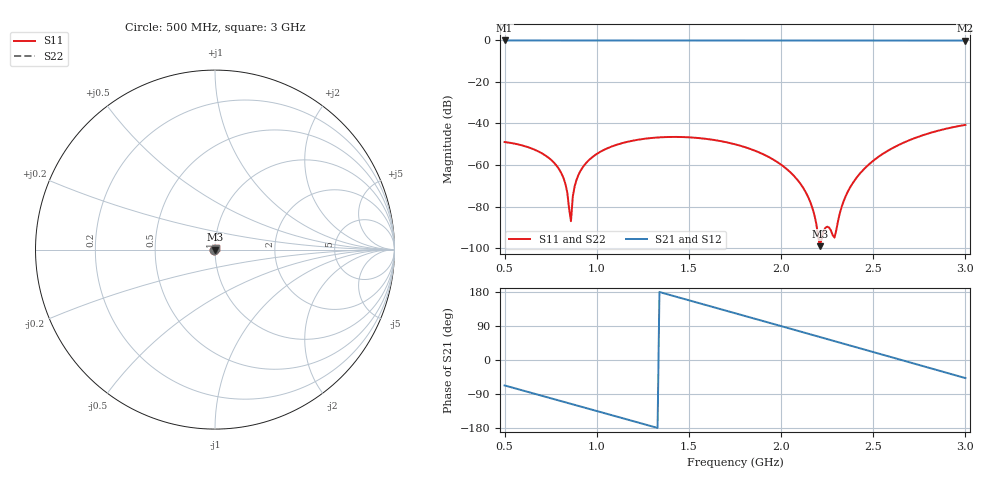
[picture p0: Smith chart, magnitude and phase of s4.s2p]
!freq-unit  param-type  data-format  keyword  impedance-ohms
# GHZ  S  RI  R  50
!Freq  ReS11  ImS11  ReS21  ImS21  ReS12  ImS12  ReS22  ImS22
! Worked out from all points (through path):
!   251 points, 500 MHz to 3 GHz, reference 50 ohm
!   highest |S21| = -0.02 dB at 500 MHz (marker M1); lowest = -0.1 dB at 3 GHz (marker M2)
!   group delay of S21, straight-line fit = 379 ps
!   lowest |S11| = -99.1 dB at 2.21 GHz (marker M3), VSWR 1.00, Z = 50 + j0.00103 ohm
!   |S11| at or under -10 dB: start of sweep to end of sweep
!   |S22| runs from -99.1 to -40.7 dB; largest |S21 - S12| = 0
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0.5  -0.00329 -0.00139  0.3879 -0.9191  0.3879 -0.9191  -0.00329 -0.00139
0.65  -0.00246 -0.000119  0.0466 -0.9961  0.0466 -0.9961  -0.00246 -0.000119
0.76  -0.00121 0.000253  -0.2099 -0.9746  -0.2099 -0.9746  -0.00121 0.000253
0.82  -0.000452 0.000157  -0.345 -0.9352  -0.345 -0.9352  -0.000452 0.000157
0.84  -0.000205 7.63e-05  -0.3887 -0.9178  -0.3887 -0.9178  -0.000205 7.63e-05
0.85  -8.4e-05 2.72e-05  -0.4102 -0.9084  -0.4102 -0.9084  -8.4e-05 2.72e-05
0.86  3.46e-05 -2.77e-05  -0.4315 -0.8984  -0.4315 -0.8984  3.46e-05 -2.77e-05
0.89  0.000374 -0.000226  -0.4938 -0.8656  -0.4938 -0.8656  0.000374 -0.000226
0.92  0.000684 -0.00047  -0.5537 -0.8285  -0.5537 -0.8285  0.000684 -0.00047
1.07  0.00156 -0.00216  -0.8064 -0.5849  -0.8064 -0.5849  0.00156 -0.00216
1.34  -5.71e-05 -0.00463  -0.9955 0.0111  -0.9955 0.0111  -5.71e-05 -0.00463
1.54  -0.0021 -0.00399  -0.8802 0.4642  -0.8802 0.4642  -0.0021 -0.00399
1.75  -0.00262 -0.00175  -0.5506 0.8284  -0.5506 0.8284  -0.00262 -0.00175
2.02  -0.000872 4.81e-05  0.0561 0.9926  0.0561 0.9926  -0.000872 4.81e-05
2.11  -0.000315 9.16e-05  0.2662 0.9577  0.2662 0.9577  -0.000315 9.16e-05
2.17  -8.07e-05 4.42e-05  0.4002 0.9098  0.4002 0.9098  -8.07e-05 4.42e-05
2.21  4.06e-06 1.03e-05  0.4851 0.8674  0.4851 0.8674  4.06e-06 1.03e-05
2.33  -5.47e-05 8.62e-05  0.7106 0.6945  0.7106 0.6945  -5.47e-05 8.62e-05
2.43  -0.0003 0.000565  0.8548 0.5062  0.8548 0.5062  -0.0003 0.000565
2.59  -0.000312 0.00233  0.9818 0.1497  0.9818 0.1497  -0.000312 0.00233
2.79  0.00185 0.00527  0.9396 -0.3205  0.9396 -0.3205  0.00185 0.00527
3  0.00687 0.00619  0.667 -0.7348  0.667 -0.7348  0.00687 0.00619
